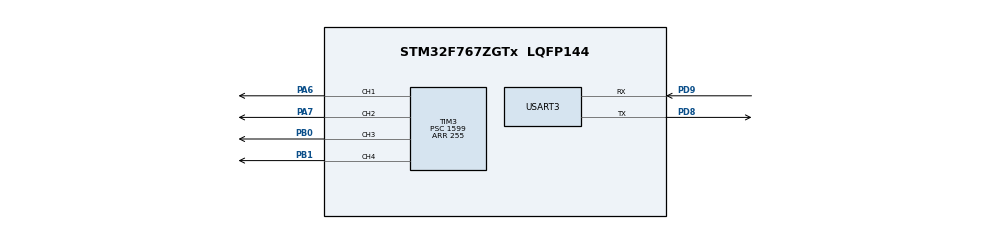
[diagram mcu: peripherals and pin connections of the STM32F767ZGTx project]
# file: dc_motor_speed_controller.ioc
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Mcu.Family=STM32F7
Mcu.Name=STM32F767ZGTx
Mcu.Package=LQFP144
NVIC.PriorityGroup=NVIC_PRIORITYGROUP_4
NVIC.USART3_IRQn=true\:0\:0\:false\:false\:true\:true\:true\:true
PA6.Signal=S_TIM3_CH1
PA7.Signal=S_TIM3_CH2
PB0.Signal=S_TIM3_CH3
PB1.Signal=S_TIM3_CH4
PD8.Mode=Asynchronous
PD8.Signal=USART3_TX
PD9.Mode=Asynchronous
PD9.Signal=USART3_RX
ProjectManager.HeapSize=0x200
ProjectManager.StackSize=0x400
ProjectManager.TargetToolchain=STM32CubeIDE
RCC.HSE_VALUE=25000000
RCC.HSI_VALUE=16000000
RCC.LSE_VALUE=32768
RCC.USBFreq_Value=96000000
RCC.VCOOutputFreq_Value=192000000
SH.S_TIM3_CH1.0=TIM3_CH1,PWM Generation1 CH1
SH.S_TIM3_CH2.0=TIM3_CH2,PWM Generation2 CH2
SH.S_TIM3_CH3.0=TIM3_CH3,PWM Generation3 CH3
SH.S_TIM3_CH4.0=TIM3_CH4,PWM Generation4 CH4
TIM3.Channel-PWM\ Generation1\ CH1=TIM_CHANNEL_1
TIM3.Channel-PWM\ Generation2\ CH2=TIM_CHANNEL_2
TIM3.Channel-PWM\ Generation3\ CH3=TIM_CHANNEL_3
TIM3.Channel-PWM\ Generation4\ CH4=TIM_CHANNEL_4
TIM3.Period=255
TIM3.Prescaler=1599
USART3.VirtualMode-Asynchronous=VM_ASYNC
VP_TIM3_VS_ClockSourceINT.Mode=Internal
board=custom

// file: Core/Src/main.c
/* USER CODE BEGIN Header */
/**
  ******************************************************************************
  * @file           : main.c
  * @brief          : Main program body
  ******************************************************************************
  * @attention
  *
  * Copyright (c) 2026 STMicroelectronics.
  * All rights reserved.
  *
  * This software is licensed under terms that can be found in the LICENSE file
  * in the root directory of this software component.
  * If no LICENSE file comes with this software, it is provided AS-IS.
  *
  ******************************************************************************
  */
/* USER CODE END Header */
#include "main.h"

TIM_HandleTypeDef htim3;

UART_HandleTypeDef huart3;

/* USER CODE BEGIN PV */

int16_t dutecycle = 0;
uint8_t rx_data;       // Dizi değil, tek bayt olmalı
uint8_t rx_index = 0;  // Başlangıç değeri verilmeli
char rx_buffer[10];    // Rakamları biriktirecek tampon

/* USER CODE END PV */

void SystemClock_Config(void);
static void MX_GPIO_Init(void);
static void MX_TIM3_Init(void);
static void MX_USART3_UART_Init(void);

int main(void)
{

  /* MCU Configuration--------------------------------------------------------*/

  /* Reset of all peripherals, Initializes the Flash interface and the Systick. */
  HAL_Init();

  /* Configure the system clock */
  SystemClock_Config();

  /* Initialize all configured peripherals */
  MX_GPIO_Init();
  MX_TIM3_Init();
  MX_USART3_UART_Init();
  /* USER CODE BEGIN 2 */
  HAL_TIM_PWM_Start(&htim3, TIM_CHANNEL_1);
  HAL_TIM_PWM_Start(&htim3, TIM_CHANNEL_2);
  HAL_TIM_PWM_Start(&htim3, TIM_CHANNEL_3);
  HAL_TIM_PWM_Start(&htim3, TIM_CHANNEL_4);
  uint8_t msg[] = "UART Basladi\r\n";
  HAL_UART_Transmit(&huart3, msg, 14, 100);
  HAL_UART_Receive_IT(&huart3, &rx_data, 1);
  /* USER CODE END 2 */

  /* Infinite loop */
  while (1)
  {

    /* USER CODE BEGIN 3 */
	    // Motor Kontrol Mantığı döngünün İÇİNDE olmalı
	    if (dutecycle > 0)
	    {
	      // İLERİ: Kanal 1 PWM, Kanal 2 0
	      __HAL_TIM_SET_COMPARE(&htim3, TIM_CHANNEL_1, dutecycle);
	      __HAL_TIM_SET_COMPARE(&htim3, TIM_CHANNEL_2, 0);

	      // MOTOR B İLERİ: Kanal 3 PWM, Kanal 4 0
	      __HAL_TIM_SET_COMPARE(&htim3, TIM_CHANNEL_3, dutecycle);
	      __HAL_TIM_SET_COMPARE(&htim3, TIM_CHANNEL_4, 0);
	    }
	    else if (dutecycle < 0)
	    {
	      // GERİ: Kanal 1 0, Kanal 2 PWM (Mutlak değer alınmalı)
	      __HAL_TIM_SET_COMPARE(&htim3, TIM_CHANNEL_1, 0);
	      __HAL_TIM_SET_COMPARE(&htim3, TIM_CHANNEL_2, -dutecycle); // Pozitife çevirdik

	      // MOTOR B GERİ
	      __HAL_TIM_SET_COMPARE(&htim3, TIM_CHANNEL_3, 0);
	      __HAL_TIM_SET_COMPARE(&htim3, TIM_CHANNEL_4, -dutecycle);
	    }
	    else
	    {
	      // DUR / FREN (dutecycle == 0 durumu)
	      __HAL_TIM_SET_COMPARE(&htim3, TIM_CHANNEL_1, 0);
	      __HAL_TIM_SET_COMPARE(&htim3, TIM_CHANNEL_2, 0);
	      __HAL_TIM_SET_COMPARE(&htim3, TIM_CHANNEL_3, 0);
	      __HAL_TIM_SET_COMPARE(&htim3, TIM_CHANNEL_4, 0);
	    }

	    HAL_Delay(10);
  } // while döngüsünün kapanış parantezi burada olmalı!
  /* USER CODE END 3 */
}

void SystemClock_Config(void)
{
  RCC_OscInitTypeDef RCC_OscInitStruct = {0};
  RCC_ClkInitTypeDef RCC_ClkInitStruct = {0};

  /** Configure the main internal regulator output voltage
  */
  __HAL_RCC_PWR_CLK_ENABLE();
  __HAL_PWR_VOLTAGESCALING_CONFIG(PWR_REGULATOR_VOLTAGE_SCALE3);

  /** Initializes the RCC Oscillators according to the specified parameters
  * in the RCC_OscInitTypeDef structure.
  */
  RCC_OscInitStruct.OscillatorType = RCC_OSCILLATORTYPE_HSI;
  RCC_OscInitStruct.HSIState = RCC_HSI_ON;
  RCC_OscInitStruct.HSICalibrationValue = RCC_HSICALIBRATION_DEFAULT;
  RCC_OscInitStruct.PLL.PLLState = RCC_PLL_NONE;
  if (HAL_RCC_OscConfig(&RCC_OscInitStruct) != HAL_OK)
  {
    Error_Handler();
  }

  /** Initializes the CPU, AHB and APB buses clocks
  */
  RCC_ClkInitStruct.ClockType = RCC_CLOCKTYPE_HCLK|RCC_CLOCKTYPE_SYSCLK
                              |RCC_CLOCKTYPE_PCLK1|RCC_CLOCKTYPE_PCLK2;
  RCC_ClkInitStruct.SYSCLKSource = RCC_SYSCLKSOURCE_HSI;
  RCC_ClkInitStruct.AHBCLKDivider = RCC_SYSCLK_DIV1;
  RCC_ClkInitStruct.APB1CLKDivider = RCC_HCLK_DIV1;
  RCC_ClkInitStruct.APB2CLKDivider = RCC_HCLK_DIV1;

  if (HAL_RCC_ClockConfig(&RCC_ClkInitStruct, FLASH_LATENCY_0) != HAL_OK)
  {
    Error_Handler();
  }
}

static void MX_TIM3_Init(void)
{

  TIM_ClockConfigTypeDef sClockSourceConfig = {0};
  TIM_MasterConfigTypeDef sMasterConfig = {0};
  TIM_OC_InitTypeDef sConfigOC = {0};

  htim3.Instance = TIM3;
  htim3.Init.Prescaler = 1599;
  htim3.Init.CounterMode = TIM_COUNTERMODE_UP;
  htim3.Init.Period = 255;
  htim3.Init.ClockDivision = TIM_CLOCKDIVISION_DIV1;
  htim3.Init.AutoReloadPreload = TIM_AUTORELOAD_PRELOAD_DISABLE;
  if (HAL_TIM_Base_Init(&htim3) != HAL_OK)
  {
    Error_Handler();
  }
  sClockSourceConfig.ClockSource = TIM_CLOCKSOURCE_INTERNAL;
  if (HAL_TIM_ConfigClockSource(&htim3, &sClockSourceConfig) != HAL_OK)
  {
    Error_Handler();
  }
  if (HAL_TIM_PWM_Init(&htim3) != HAL_OK)
  {
    Error_Handler();
  }
  sMasterConfig.MasterOutputTrigger = TIM_TRGO_RESET;
  sMasterConfig.MasterSlaveMode = TIM_MASTERSLAVEMODE_DISABLE;
  if (HAL_TIMEx_MasterConfigSynchronization(&htim3, &sMasterConfig) != HAL_OK)
  {
    Error_Handler();
  }
  sConfigOC.OCMode = TIM_OCMODE_PWM1;
  sConfigOC.Pulse = 0;
  sConfigOC.OCPolarity = TIM_OCPOLARITY_HIGH;
  sConfigOC.OCFastMode = TIM_OCFAST_DISABLE;
  if (HAL_TIM_PWM_ConfigChannel(&htim3, &sConfigOC, TIM_CHANNEL_1) != HAL_OK)
  {
    Error_Handler();
  }
  if (HAL_TIM_PWM_ConfigChannel(&htim3, &sConfigOC, TIM_CHANNEL_2) != HAL_OK)
  {
    Error_Handler();
  }
  if (HAL_TIM_PWM_ConfigChannel(&htim3, &sConfigOC, TIM_CHANNEL_3) != HAL_OK)
  {
    Error_Handler();
  }
  if (HAL_TIM_PWM_ConfigChannel(&htim3, &sConfigOC, TIM_CHANNEL_4) != HAL_OK)
  {
    Error_Handler();
  }
  HAL_TIM_MspPostInit(&htim3);

}

static void MX_USART3_UART_Init(void)
{

  huart3.Instance = USART3;
  huart3.Init.BaudRate = 115200;
  huart3.Init.WordLength = UART_WORDLENGTH_8B;
  huart3.Init.StopBits = UART_STOPBITS_1;
  huart3.Init.Parity = UART_PARITY_NONE;
  huart3.Init.Mode = UART_MODE_TX_RX;
  huart3.Init.HwFlowCtl = UART_HWCONTROL_NONE;
  huart3.Init.OverSampling = UART_OVERSAMPLING_16;
  huart3.Init.OneBitSampling = UART_ONE_BIT_SAMPLE_DISABLE;
  huart3.AdvancedInit.AdvFeatureInit = UART_ADVFEATURE_NO_INIT;
  if (HAL_UART_Init(&huart3) != HAL_OK)
  {
    Error_Handler();
  }

}

static void MX_GPIO_Init(void)
{

  /* GPIO Ports Clock Enable */
  __HAL_RCC_GPIOA_CLK_ENABLE();
  __HAL_RCC_GPIOB_CLK_ENABLE();
  __HAL_RCC_GPIOD_CLK_ENABLE();

}

void Error_Handler(void)
{
  __disable_irq();
  while (1)
  {
  }
}
